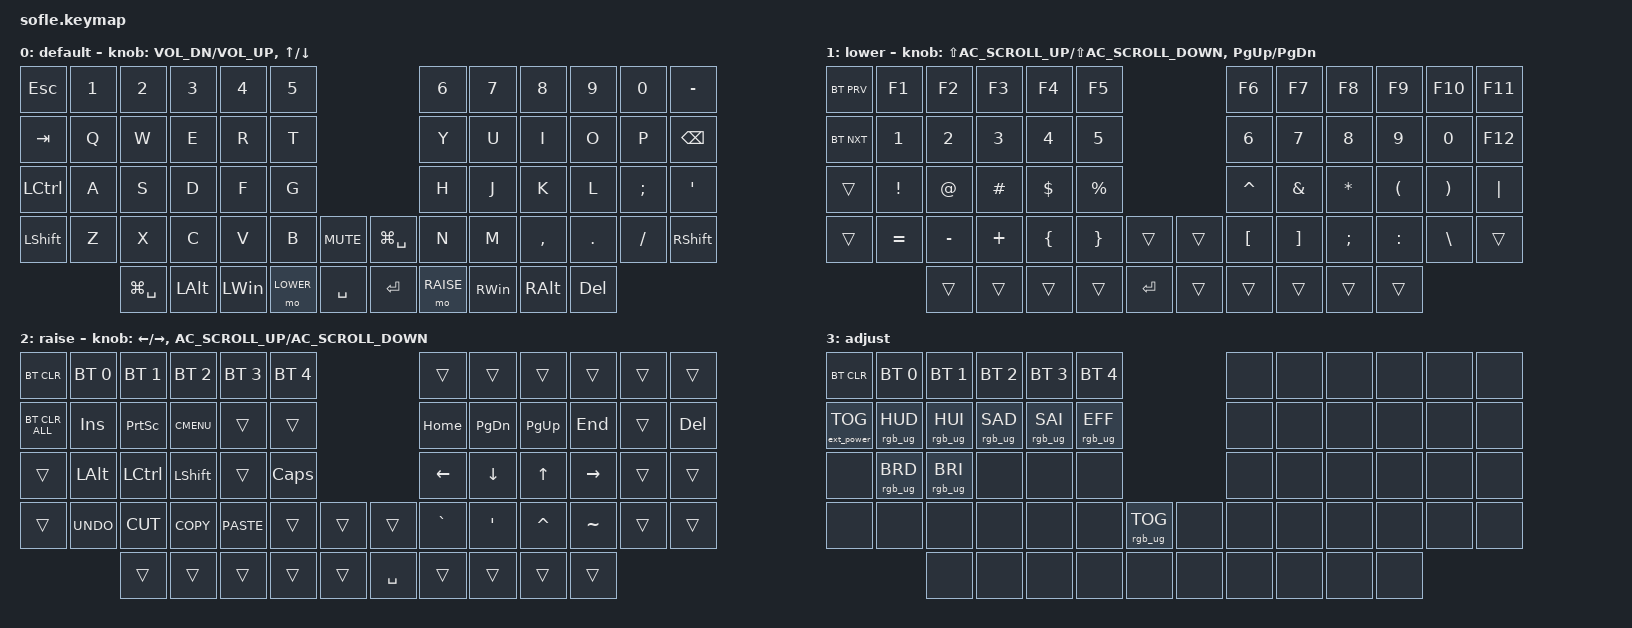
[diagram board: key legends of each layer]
/*
 * Copyright (c) 2020 The ZMK Contributors
 *
 * SPDX-License-Identifier: MIT
 */

#include <behaviors.dtsi>
#include <dt-bindings/zmk/bt.h>
#include <dt-bindings/zmk/ext_power.h>
#include <dt-bindings/zmk/keys.h>
#include <dt-bindings/zmk/rgb.h>

#define BASE 0
#define LOWER 1
#define RAISE 2
#define ADJUST 3

/ {
    // Activate ADJUST layer by pressing raise and lower

    conditional_layers {
        compatible = "zmk,conditional-layers";

        adjust_layer {
            if-layers = <LOWER RAISE>;
            then-layer = <ADJUST>;
        };
    };

    keymap {
        compatible = "zmk,keymap";

        default_layer {
            display-name = "default";

            // ------------------------------------------------------------------------------------------------------------
            // |   `   |  1  |  2  |  3   |  4   |  5   |                   |  6   |  7    |  8    |  9   |   0   |       |
            // |  ESC  |  Q  |  W  |  E   |  R   |  T   |                   |  Y   |  U    |  I    |  O   |   P   | BKSPC |
            // |  TAB  |  A  |  S  |  D   |  F   |  G   |                   |  H   |  J    |  K    |  L   |   ;   |   '   |
            // | SHIFT |  Z  |  X  |  C   |  V   |  B   |  MUTE  |  |       |  N   |  M    |  ,    |  .   |   /   | SHIFT |
            //               | GUI | ALT  | CTRL | LOWER|  ENTER |  | SPACE | RAISE| CTRL  | ALT   | GUI  |

            bindings = <
&kp ESCAPE        &kp N1  &kp N2         &kp N3    &kp N4        &kp N5                                  &kp N6     &kp N7         &kp N8     &kp N9      &kp N0    &kp MINUS
&kp TAB           &kp Q   &kp W          &kp E     &kp R         &kp T                                   &kp Y      &kp U          &kp I      &kp O       &kp P     &kp BSPC
&kp LEFT_CONTROL  &kp A   &kp S          &kp D     &kp F         &kp G                                   &kp H      &kp J          &kp K      &kp L       &kp SEMI  &kp SQT
&kp LSHFT         &kp Z   &kp X          &kp C     &kp V         &kp B      &kp C_MUTE    &kp LG(SPACE)  &kp N      &kp M          &kp COMMA  &kp DOT     &kp FSLH  &kp RSHFT
                          &kp LG(SPACE)  &kp LALT  &kp LEFT_WIN  &mo LOWER  &kp SPACE     &kp ENTER      &mo RAISE  &kp RIGHT_WIN  &kp RALT   &kp DELETE
            >;

            sensor-bindings =
                <&inc_dec_kp C_VOL_DN C_VOL_UP>,
                <&inc_dec_kp UP_ARROW DOWN>;
        };

        lower_layer {
            display-name = "lower";

            // TODO: Some binds are waiting for shifted keycode support.
            // ------------------------------------------------------------------------------------------------------------
            // |       |  F1 |  F2 |  F3  |  F4  |  F5  |                   |  F6  |  F7   |  F8   |  F9  |  F10  |  F11  |
            // |   `   |  1  |  2  |  3   |  4   |  5   |                   |  6   |  7    |  8    |  9   |   0   |  F12  |
            // |       |  !  |  @  |  #   |  $   |  %   |                   |  ^   |  &    |  *    |  (   |   )   |   |   |
            // |       |  =  |  -  |  +   |  {   |  }   |        |  |       |  [   |  ]    |  ;    |  :   |   \   |       |
            //               |     |      |      |      |        |  |       |      |       |       |      |

            bindings = <
&bt BT_PRV  &kp F1     &kp F2     &kp F3    &kp F4    &kp F5                          &kp F6     &kp F7    &kp F8     &kp F9     &kp F10   &kp F11
&bt BT_NXT  &kp N1     &kp N2     &kp N3    &kp N4    &kp N5                          &kp N6     &kp N7    &kp N8     &kp N9     &kp N0    &kp F12
&trans      &kp EXCL   &kp AT     &kp HASH  &kp DLLR  &kp PRCNT                       &kp CARET  &kp AMPS  &kp ASTRK  &kp LPAR   &kp RPAR  &kp PIPE
&trans      &kp EQUAL  &kp MINUS  &kp PLUS  &kp LBRC  &kp RBRC   &trans       &trans  &kp LBKT   &kp RBKT  &kp SEMI   &kp COLON  &kp BSLH  &trans
                       &trans     &trans    &trans    &trans     &kp ENTER    &trans  &trans     &trans    &trans     &trans
            >;

            sensor-bindings =
                <&inc_dec_kp LS(C_AC_SCROLL_UP) LS(C_AC_SCROLL_DOWN)>,
                <&inc_dec_kp PG_UP PG_DN>;
        };

        raise_layer {
            display-name = "raise";

            // ------------------------------------------------------------------------------------------------------------
            // | BTCLR | BT1  | BT2  |  BT3  |  BT4  |  BT5 |                |      |      |       |      |       |       |
            // |       | INS  | PSCR | GUI   |       |      |                | PGUP |      |   ^   |      |       |       |
            // |       | ALT  | CTRL | SHIFT |       | CAPS |                | PGDN |   <- |   v   |  ->  |  DEL  | BKSPC |
            // |       | UNDO | CUT  | COPY  | PASTE |      |      |  |      |      |      |       |      |       |       |
            //                |      |       |       |      |      |  |      |      |      |       |      |

            bindings = <
&bt BT_CLR      &bt BT_SEL 0  &bt BT_SEL 1  &bt BT_SEL 2  &bt BT_SEL 3  &bt BT_SEL 4                       &trans          &trans          &trans        &trans     &trans  &trans
&bt BT_CLR_ALL  &kp INS       &kp PSCRN     &kp K_CMENU   &trans        &trans                             &kp HOME        &kp PAGE_DOWN   &kp PAGE_UP   &kp END    &trans  &kp DEL
&trans          &kp LALT      &kp LCTRL     &kp LSHFT     &trans        &kp CLCK                           &kp LEFT_ARROW  &kp DOWN_ARROW  &kp UP_ARROW  &kp RIGHT  &trans  &trans
&trans          &kp K_UNDO    &kp K_CUT     &kp K_COPY    &kp K_PASTE   &trans        &trans    &trans     &kp GRAVE       &kp APOS        &kp CARET     &kp TILDE  &trans  &trans
                              &trans        &trans        &trans        &trans        &trans    &kp SPACE  &trans          &trans          &trans        &trans
            >;

            sensor-bindings =
                <&inc_dec_kp LEFT RIGHT>,
                <&inc_dec_kp C_AC_SCROLL_UP C_AC_SCROLL_DOWN>;
        };

        adjust_layer {
            // ----------------------------------------------------------------------------------------------------------------------------
            // | BTCLR  |  BT1    |  BT2    |   BT3   |   BT4   |   BT5   |                  |      |      |       |      |       |       |
            // | EXTPWR | RGB_HUD | RGB_HUI | RGB_SAD | RGB_SAI | RGB_EFF |                  |      |      |       |      |       |       |
            // |        | RGB_BRD | RGB_BRI |         |         |         |                  |      |      |       |      |       |       |
            // |        |         |         |         |         |         | RGB_TOG | |      |      |      |       |      |       |       |
            //                    |         |         |         |         |         | |      |      |      |       |      |

            display-name = "adjust";
            bindings = <
&bt BT_CLR         &bt BT_SEL 0     &bt BT_SEL 1     &bt BT_SEL 2     &bt BT_SEL 3     &bt BT_SEL 4                               &none  &none  &none  &none  &none  &none
&ext_power EP_TOG  &rgb_ug RGB_HUD  &rgb_ug RGB_HUI  &rgb_ug RGB_SAD  &rgb_ug RGB_SAI  &rgb_ug RGB_EFF                            &none  &none  &none  &none  &none  &none
&none              &rgb_ug RGB_BRD  &rgb_ug RGB_BRI  &none            &none            &none                                      &none  &none  &none  &none  &none  &none
&none              &none            &none            &none            &none            &none            &rgb_ug RGB_TOG    &none  &none  &none  &none  &none  &none  &none
                                    &none            &none            &none            &none            &none              &none  &none  &none  &none  &none
            >;
        };
    };
};
